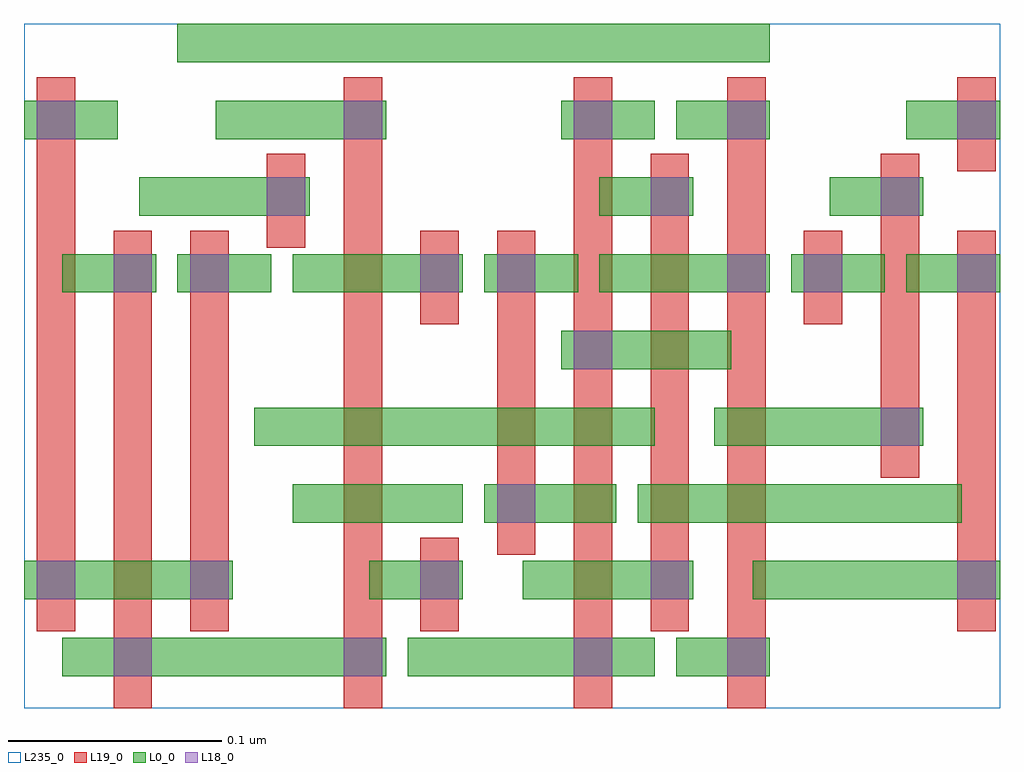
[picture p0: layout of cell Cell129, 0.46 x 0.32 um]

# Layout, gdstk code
import gdstk
lib = gdstk.Library(unit=1e-6, precision=2.5e-10)
def R(c, l, rs):  # rectangles x0, y0, x1, y1
    for r in rs: c.add(gdstk.rectangle(r[:2], r[2:], *l))
def A(c, l, x, y, w, h, nx, ny, dx, dy):  # array of equal rectangles
    R(c, l, [(x+i*dx, y+j*dy, x+i*dx+w, y+j*dy+h) for i in range(nx) for j in range(ny)])
L0_0 = (0, 0)
L18_0 = (18, 0)
L19_0 = (19, 0)
L235_0 = (235, 0)

cell129 = lib.new_cell('Cell129')
A(cell129, L0_0, 0.076, 0.179, 0.044, 0.018, 3, 1, 0.144, 0)
R(cell129, L0_0, [(0.022,-0.001,0.174,0.017), (0.184,-0.001,0.3,0.017), (0.31,-0.001,0.354,0.017), (0.004,0.035,0.102,0.053), (0.166,0.035,0.21,0.053), (0.238,0.035,0.318,0.053), (0.346,0.035,0.462,0.053), (0.13,0.071,0.21,0.089), (0.22,0.071,0.282,0.089), (0.292,0.071,0.444,0.089), (0.112,0.107,0.3,0.125), (0.328,0.107,0.426,0.125), (0.256,0.143,0.336,0.161), (0.022,0.179,0.066,0.197), (0.13,0.179,0.21,0.197), (0.274,0.179,0.354,0.197), (0.418,0.179,0.462,0.197), (0.058,0.215,0.138,0.233), (0.274,0.215,0.318,0.233), (0.382,0.215,0.426,0.233), (0.004,0.251,0.048,0.269), (0.094,0.251,0.174,0.269), (0.256,0.251,0.3,0.269), (0.31,0.251,0.354,0.269), (0.418,0.251,0.462,0.269), (0.076,0.287,0.354,0.305)])
A(cell129, L18_0, 0.046, -0.001, 0.018, 0.018, 3, 1, 0.108, 0)
A(cell129, L18_0, 0.082, 0.035, 0.018, 0.018, 3, 1, 0.108, 0)
R(cell129, L18_0, [(0.334,-0.001,0.352,0.017), (0.01,0.035,0.028,0.053), (0.442,0.035,0.46,0.053), (0.226,0.071,0.244,0.089), (0.406,0.107,0.424,0.125), (0.262,0.143,0.28,0.161), (0.046,0.179,0.064,0.197), (0.082,0.179,0.1,0.197), (0.19,0.179,0.208,0.197), (0.226,0.179,0.244,0.197), (0.334,0.179,0.352,0.197), (0.37,0.179,0.388,0.197), (0.442,0.179,0.46,0.197), (0.118,0.215,0.136,0.233), (0.298,0.215,0.316,0.233), (0.406,0.215,0.424,0.233), (0.01,0.251,0.028,0.269), (0.154,0.251,0.172,0.269), (0.262,0.251,0.28,0.269), (0.334,0.251,0.352,0.269), (0.442,0.251,0.46,0.269)])
R(cell129, L19_0, [(0.046,-0.016,0.064,0.208), (0.154,-0.016,0.172,0.28), (0.262,-0.016,0.28,0.28), (0.334,-0.016,0.352,0.28), (0.01,0.02,0.028,0.28), (0.082,0.02,0.1,0.208), (0.19,0.02,0.208,0.064), (0.298,0.02,0.316,0.244), (0.442,0.02,0.46,0.208), (0.226,0.056,0.244,0.208), (0.406,0.092,0.424,0.244), (0.19,0.164,0.208,0.208), (0.37,0.164,0.388,0.208), (0.118,0.2,0.136,0.244), (0.442,0.236,0.46,0.28)])
R(cell129, L235_0, [(0.004,-0.016,0.462,0.305)])

lib.write_gds('Cell129.gds')
